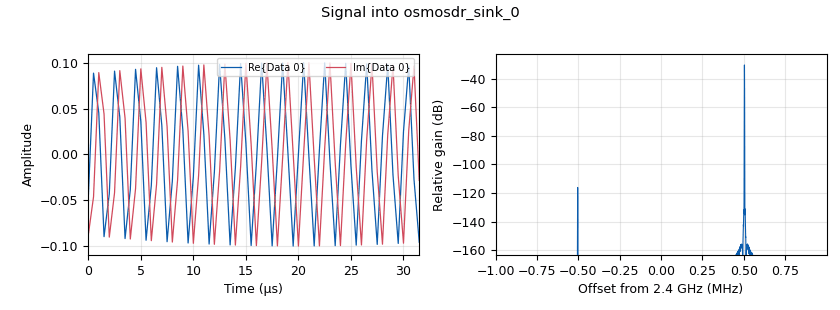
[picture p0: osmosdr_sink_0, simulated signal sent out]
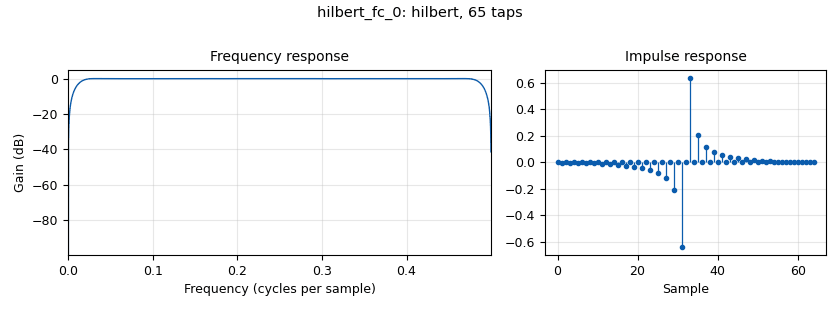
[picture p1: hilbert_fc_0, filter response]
options:
  parameters:
    generate_options: qt_gui
    id: fmcw_simulado_01
    output_language: python
    title: Not titled yet
  states: {}

blocks:
- name: FC_RX
  id: variable
  parameters:
    value: 2.4e9
  states: {}
- name: FC_TX
  id: variable
  parameters:
    value: 2.4e9
  states: {}
- name: PI
  id: variable
  parameters:
    value: '3.14159'
  states: {}
- name: amp_rx
  id: variable_qtgui_range
  parameters:
    label: AMP RX
    orient: Qt.Horizontal
    start: '10'
    step: '10'
    stop: '500'
    value: '10'
  states: {}
- name: amp_tx
  id: variable_qtgui_range
  parameters:
    label: AMP TX
    orient: Qt.Horizontal
    start: '0.05'
    step: '0.05'
    stop: '1'
    value: '0.1'
  states: {}
- name: gain_rx
  id: variable_qtgui_range
  parameters:
    label: GAIN RX
    orient: Qt.Horizontal
    start: '0'
    step: '1'
    stop: '20'
    value: '10'
  states: {}
- name: gain_rx_0
  id: variable_qtgui_range
  parameters:
    label: GAIN TX
    orient: Qt.Horizontal
    start: '0'
    step: '1'
    stop: '20'
    value: '10'
  states: {state: disabled}
- name: gain_tx
  id: variable_qtgui_range
  parameters:
    label: GAIN TX
    orient: Qt.Horizontal
    start: '0'
    step: '1'
    stop: '20'
    value: '10'
  states: {}
- name: samp_rate
  id: variable
  parameters:
    value: 2e6
  states: {}
- name: sample_delay
  id: variable_qtgui_range
  parameters:
    label: Muestras de delay
    orient: Qt.Horizontal
    start: 1e3
    step: 1e3
    stop: 10e3
    value: 1e3
  states: {state: disabled}
- name: sample_delay_rx
  id: variable_qtgui_range
  parameters:
    label: Delay TX
    orient: Qt.Horizontal
    start: '0'
    step: '100'
    stop: 50e3
    value: '100'
  states: {}
- name: analog_sig_source_x_0
  id: analog_sig_source_x
  parameters:
    amp: 2*PI
    freq: '0.04'
    offset: '0'
    phase: '0'
    samp_rate: samp_rate
    type: float
    waveform: analog.GR_SAW_WAVE
  states: {}
- name: blocks_delay_0
  id: blocks_delay
  parameters:
    delay: int(100e3)
    type: complex
  states: {state: disabled}
- name: blocks_delay_0_0
  id: blocks_delay
  parameters:
    delay: int(300e3)
    type: complex
  states: {state: disabled}
- name: blocks_delay_1
  id: blocks_delay
  parameters:
    delay: '0'
    type: complex
  states: {}
- name: blocks_multiply_conjugate_cc_0
  id: blocks_multiply_conjugate_cc
  parameters: {}
  states: {}
- name: blocks_multiply_const_vxx_0
  id: blocks_multiply_const_vxx
  parameters:
    const: amp_rx
    type: complex
  states: {}
- name: blocks_multiply_const_vxx_0_0
  id: blocks_multiply_const_vxx
  parameters:
    const: amp_tx
    type: complex
  states: {}
- name: blocks_null_sink_0
  id: blocks_null_sink
  parameters:
    type: complex
  states: {state: disabled}
- name: blocks_null_sink_0_0
  id: blocks_null_sink
  parameters:
    type: complex
  states: {state: disabled}
- name: blocks_null_sink_0_0_0
  id: blocks_null_sink
  parameters:
    type: complex
  states: {state: disabled}
- name: blocks_throttle_1_0
  id: blocks_throttle
  parameters:
    samples_per_second: 1E6
    type: complex
  states: {state: disabled}
- name: blocks_throttle_1_0_0_0
  id: blocks_throttle
  parameters:
    samples_per_second: 1e6
    type: complex
  states: {}
- name: blocks_vco_f_1
  id: blocks_vco_f
  parameters:
    amplitude: '1'
    samp_rate: samp_rate
    sensitivity: 1e6
  states: {}
- name: dc_blocker_xx_0
  id: dc_blocker_xx
  parameters:
    length: '32'
    long_form: 'True'
    type: cc
  states: {}
- name: hilbert_fc_0
  id: hilbert_fc
  parameters:
    num_taps: '64'
    win: firdes.WIN_HAMMING
  states: {}
- name: low_pass_filter_0
  id: low_pass_filter
  parameters:
    cutoff_freq: 0.6e6
    decim: '1'
    gain: '1'
    samp_rate: samp_rate
    type: fir_filter_ccf
    width: 1e3
    win: firdes.WIN_HAMMING
  states: {state: bypassed}
- name: osmosdr_sink_0
  id: osmosdr_sink
  parameters:
    bb_gain0: '20'
    freq0: FC_TX
    gain0: gain_tx
    if_gain0: '20'
    sample_rate: samp_rate
    sync: sync
    type: fc32
  states: {}
- name: osmosdr_source_0
  id: osmosdr_source
  parameters:
    bb_gain0: '20'
    freq0: FC_RX
    gain0: gain_rx
    gain_mode0: 'False'
    if_gain0: '20'
    sample_rate: samp_rate
    sync: sync
    type: fc32
  states: {}
- name: qtgui_sink_x_0
  id: qtgui_sink_x
  parameters:
    bw: 2E6
    fc: '0'
    fftsize: '1024'
    type: complex
    wintype: firdes.WIN_BLACKMAN_hARRIS
  states: {state: disabled}
- name: qtgui_sink_x_0_1
  id: qtgui_sink_x
  parameters:
    bw: samp_rate/2000
    fc: '0'
    fftsize: '1024'
    name: '"FFT Resampler"'
    type: complex
    wintype: firdes.WIN_BLACKMAN_hARRIS
  states: {}

connections:
- [analog_sig_source_x_0, '0', blocks_vco_f_1, '0']
- [blocks_delay_0, '0', blocks_null_sink_0_0, '0']
- [blocks_delay_0_0, '0', blocks_null_sink_0_0_0, '0']
- [blocks_delay_1, '0', blocks_multiply_conjugate_cc_0, '0']
- [blocks_multiply_conjugate_cc_0, '0', blocks_null_sink_0, '0']
- [blocks_multiply_conjugate_cc_0, '0', low_pass_filter_0, '0']
- [blocks_multiply_const_vxx_0, '0', blocks_multiply_conjugate_cc_0, '1']
- [blocks_multiply_const_vxx_0_0, '0', osmosdr_sink_0, '0']
- [blocks_throttle_1_0, '0', blocks_delay_0, '0']
- [blocks_throttle_1_0, '0', blocks_delay_0_0, '0']
- [blocks_throttle_1_0, '0', qtgui_sink_x_0, '0']
- [blocks_throttle_1_0_0_0, '0', qtgui_sink_x_0_1, '0']
- [blocks_vco_f_1, '0', hilbert_fc_0, '0']
- [dc_blocker_xx_0, '0', blocks_multiply_const_vxx_0, '0']
- [hilbert_fc_0, '0', blocks_delay_1, '0']
- [hilbert_fc_0, '0', blocks_multiply_const_vxx_0_0, '0']
- [hilbert_fc_0, '0', blocks_throttle_1_0, '0']
- [low_pass_filter_0, '0', blocks_throttle_1_0_0_0, '0']
- [osmosdr_source_0, '0', dc_blocker_xx_0, '0']

metadata:
  file_format: 1
